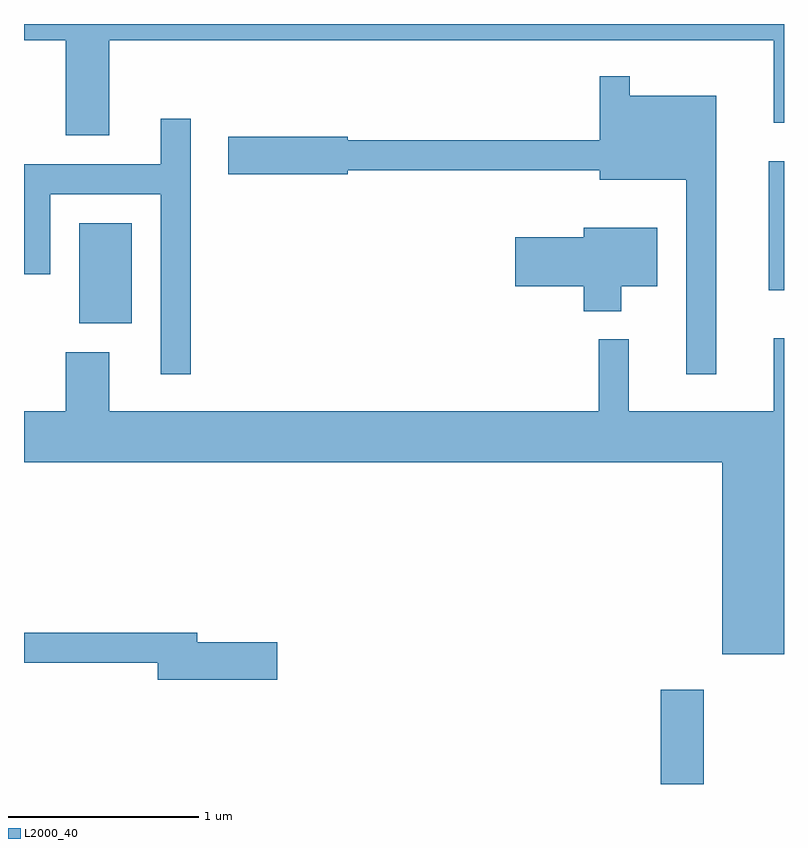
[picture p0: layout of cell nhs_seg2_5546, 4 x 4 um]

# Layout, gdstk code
import gdstk
lib = gdstk.Library(unit=1e-6, precision=1e-09)
def R(c, l, rs):  # rectangles x0, y0, x1, y1
    for r in rs: c.add(gdstk.rectangle(r[:2], r[2:], *l))
def P(c, l, *ps):  # polygons
    for p in ps: c.add(gdstk.Polygon(p, *l))
L2000_40 = (2000, 40)

nhs_seg2_5546 = lib.new_cell('nhs_seg2_5546')
R(nhs_seg2_5546, L2000_40, [(352.961,977.802,353.189,978.299), (349.901,980.226,350.179,980.754), (353.531,980.401,353.611,981.079)])
P(nhs_seg2_5546, L2000_40, [(350.059,981.716),(353.556,981.716),(353.556,981.283),(353.611,981.283),(353.611,981.802),(349.611,981.802),(349.611,981.716),(349.831,981.716),(349.831,981.216),(350.059,981.216)],
  [(353.254,981.424),(352.799,981.424),(352.799,981.528),(352.641,981.528),(352.641,981.189),(351.314,981.189),(351.314,981.209),(350.686,981.209),(350.686,981.011),(351.314,981.011),(351.314,981.031),(352.641,981.031),(352.641,980.981),(353.096,980.981),(353.096,979.958),(353.254,979.958)],
  [(350.489,981.303),(350.331,981.303),(350.331,981.064),(349.611,981.064),(349.611,980.486),(349.749,980.486),(349.749,980.906),(350.331,980.906),(350.331,979.958),(350.489,979.958)],
  [(352.754,980.421),(352.944,980.421),(352.944,980.729),(352.556,980.729),(352.556,980.679),(352.196,980.679),(352.196,980.421),(352.556,980.421),(352.556,980.291),(352.754,980.291)],
  [(353.611,980.148),(353.556,980.148),(353.556,979.764),(352.794,979.764),(352.794,980.143),(352.636,980.143),(352.636,979.764),(350.059,979.764),(350.059,980.074),(349.831,980.074),(349.831,979.764),(349.611,979.764),(349.611,979.496),(353.286,979.496),(353.286,978.486),(353.611,978.486)],
  [(350.944,978.549),(350.524,978.549),(350.524,978.599),(349.611,978.599),(349.611,978.441),(350.316,978.441),(350.316,978.351),(350.944,978.351)])

lib.write_gds('nhs_seg2_5546.gds')
